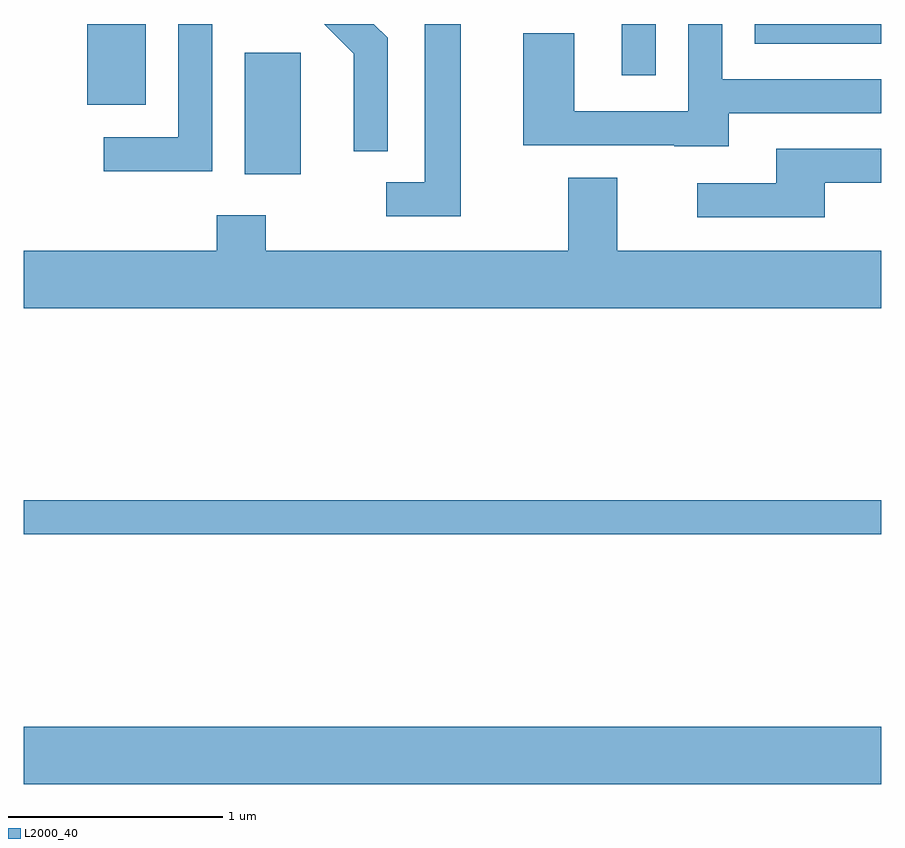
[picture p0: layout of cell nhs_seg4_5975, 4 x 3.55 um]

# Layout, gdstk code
import gdstk
lib = gdstk.Library(unit=1e-6, precision=1e-09)
def R(c, l, rs):  # rectangles x0, y0, x1, y1
    for r in rs: c.add(gdstk.rectangle(r[:2], r[2:], *l))
def P(c, l, *ps):  # polygons
    for p in ps: c.add(gdstk.Polygon(p, *l))
L2000_40 = (2000, 40)

nhs_seg4_5975 = lib.new_cell('nhs_seg4_5975')
R(nhs_seg4_5975, L2000_40, [(359.611,1372.436,363.611,1372.704), (359.611,1373.601,363.611,1373.759), (360.641,1375.281,360.904,1375.849), (359.906,1375.606,360.179,1375.982), (362.401,1375.743,362.559,1375.982), (363.021,1375.891,363.611,1375.982)])
P(nhs_seg4_5975, L2000_40, [(362.899,1375.566),(363.611,1375.566),(363.611,1375.724),(362.869,1375.724),(362.869,1375.982),(362.711,1375.982),(362.711,1375.574),(362.179,1375.574),(362.179,1375.939),(361.941,1375.939),(361.941,1375.416),(362.645,1375.416),(362.645,1375.411),(362.899,1375.411)],
  [(361.649,1375.982),(361.481,1375.982),(361.481,1375.244),(361.303,1375.244),(361.303,1375.086),(361.649,1375.086)],
  [(360.489,1375.982),(360.331,1375.982),(360.331,1375.454),(359.983,1375.454),(359.983,1375.296),(360.489,1375.296)],
  [(361.309,1375.917),(361.244,1375.982),(361.013,1375.982),(361.151,1375.844),(361.151,1375.388),(361.309,1375.388)],
  [(363.349,1375.241),(363.611,1375.241),(363.611,1375.399),(363.121,1375.399),(363.121,1375.239),(362.753,1375.239),(362.753,1375.081),(363.349,1375.081)],
  [(363.611,1374.924),(362.379,1374.924),(362.379,1375.264),(362.151,1375.264),(362.151,1374.924),(360.739,1374.924),(360.739,1375.089),(360.511,1375.089),(360.511,1374.924),(359.611,1374.924),(359.611,1374.656),(363.611,1374.656)])

lib.write_gds('nhs_seg4_5975.gds')
